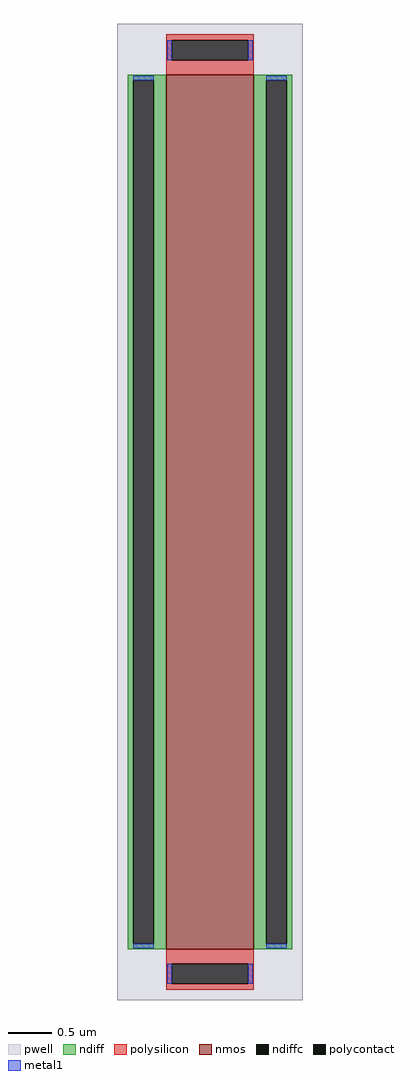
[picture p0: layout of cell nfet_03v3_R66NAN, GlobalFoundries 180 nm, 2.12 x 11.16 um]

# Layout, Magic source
magic
tech gf180mcuD
magscale 1 10
<< pwell >>
rect -212 -1116 212 1116
<< nmos >>
rect -100 -1000 100 1000
<< ndiff >>
rect -188 987 -100 1000
rect -188 -987 -175 987
rect -129 -987 -100 987
rect -188 -1000 -100 -987
rect 100 987 188 1000
rect 100 -987 129 987
rect 175 -987 188 987
rect 100 -1000 188 -987
<< ndiffc >>
rect -175 -987 -129 987
rect 129 -987 175 987
<< polysilicon >>
rect -100 1079 100 1092
rect -100 1033 -87 1079
rect 87 1033 100 1079
rect -100 1000 100 1033
rect -100 -1033 100 -1000
rect -100 -1079 -87 -1033
rect 87 -1079 100 -1033
rect -100 -1092 100 -1079
<< polycontact >>
rect -87 1033 87 1079
rect -87 -1079 87 -1033
<< metal1 >>
rect -98 1033 -87 1079
rect 87 1033 98 1079
rect -175 987 -129 998
rect -175 -998 -129 -987
rect 129 987 175 998
rect 129 -998 175 -987
rect -98 -1079 -87 -1033
rect 87 -1079 98 -1033
<< properties >>
string gencell nfet_03v3
string library gf180mcu
string parameters w 10 l 1 m 1 nf 1 diffcov 100 polycov 100 guard 0 glc 0 grc 0 gtc 0 gbc 0 tbcov 100 rlcov 100 topc 1 botc 1 poverlap 0 doverlap 1 lmin 0.28 wmin 0.22 class mosfet full_metal 0 compatible {nfet_03v3 nfet_05v0 nfet_06v0 nfet_06v0_nvt}
<< end >>
